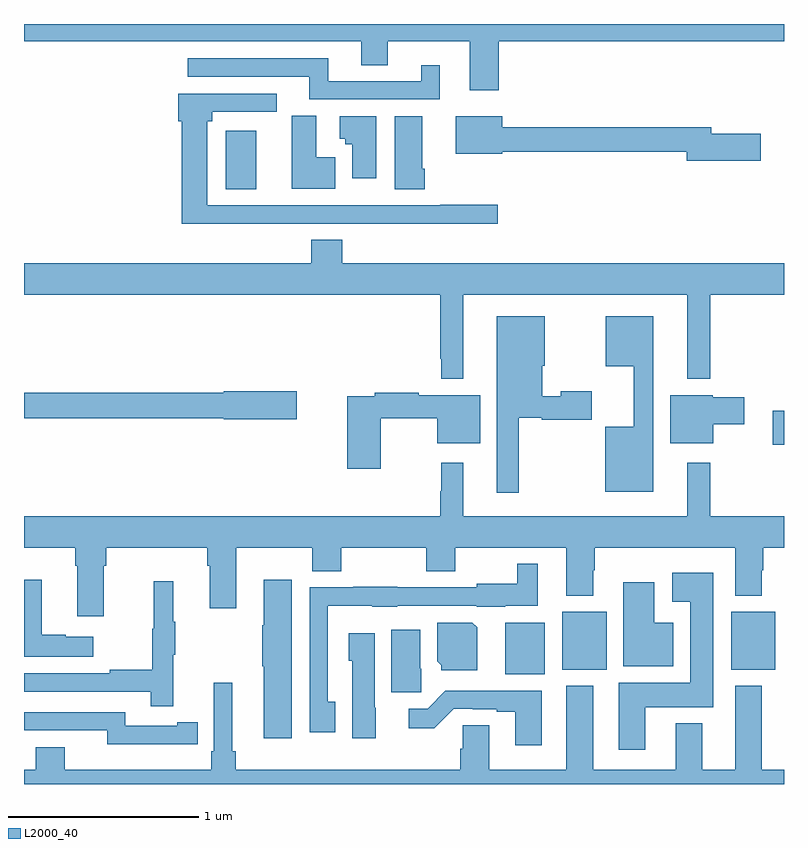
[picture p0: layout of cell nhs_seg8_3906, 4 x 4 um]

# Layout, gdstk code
import gdstk
lib = gdstk.Library(unit=1e-6, precision=1e-09)
def R(c, l, rs):  # rectangles x0, y0, x1, y1
    for r in rs: c.add(gdstk.rectangle(r[:2], r[2:], *l))
def P(c, l, *ps):  # polygons
    for p in ps: c.add(gdstk.Polygon(p, *l))
L2000_40 = (2000, 40)

nhs_seg8_3906 = lib.new_cell('nhs_seg8_3906')
R(nhs_seg8_3906, L2000_40, [(353.534,1138.478,353.74,1138.748), (353.834,1138.502,354.067,1138.807), (354.722,1138.502,354.955,1138.807), (354.942,1139.686,355,1139.864), (352.061,1141.03,352.222,1141.339)])
P(nhs_seg8_3906, L2000_40, [(353.498,1141.808),(355,1141.808),(355,1141.9),(351,1141.9),(351,1141.808),(352.775,1141.808),(352.775,1141.684),(352.915,1141.684),(352.915,1141.808),(353.345,1141.808),(353.345,1141.551),(353.498,1141.551)],
  [(353.188,1141.684),(353.09,1141.684),(353.09,1141.599),(352.6,1141.599),(352.6,1141.719),(351.861,1141.719),(351.861,1141.623),(352.502,1141.623),(352.502,1141.503),(353.188,1141.503)],
  [(352.427,1140.849),(352.759,1140.849),(352.759,1140.848),(353.494,1140.848),(353.494,1140.95),(353.191,1140.95),(353.191,1140.945),(351.964,1140.945),(351.964,1141.389),(351.99,1141.389),(351.99,1141.437),(352.33,1141.437),(352.33,1141.533),(351.812,1141.533),(351.812,1141.389),(351.83,1141.389),(351.83,1140.848),(352.427,1140.848)],
  [(352.639,1141.2),(352.537,1141.2),(352.537,1141.417),(352.409,1141.417),(352.409,1141.034),(352.639,1141.034)],
  [(353.108,1141.138),(353.095,1141.138),(353.095,1141.414),(352.952,1141.414),(352.952,1141.03),(353.108,1141.03)],
  [(352.855,1141.414),(352.661,1141.414),(352.661,1141.295),(352.692,1141.295),(352.692,1141.267),(352.727,1141.267),(352.727,1141.089),(352.855,1141.089)],
  [(354.877,1141.323),(354.616,1141.323),(354.616,1141.357),(353.518,1141.357),(353.518,1141.414),(353.273,1141.414),(353.273,1141.217),(353.518,1141.217),(353.518,1141.228),(354.488,1141.228),(354.488,1141.181),(354.877,1141.181)],
  [(353.311,1140.476),(354.491,1140.476),(354.491,1140.032),(354.613,1140.032),(354.613,1140.476),(355,1140.476),(355,1140.64),(352.676,1140.64),(352.676,1140.764),(352.511,1140.764),(352.511,1140.64),(351,1140.64),(351,1140.476),(353.19,1140.476),(353.19,1140.139),(353.196,1140.139),(353.196,1140.032),(353.311,1140.032)],
  [(353.603,1139.828),(353.724,1139.828),(353.724,1139.818),(353.989,1139.818),(353.989,1139.968),(353.826,1139.968),(353.826,1139.941),(353.728,1139.941),(353.728,1140.102),(353.74,1140.102),(353.74,1140.361),(353.489,1140.361),(353.489,1139.433),(353.603,1139.433)],
  [(354.313,1140.361),(354.062,1140.361),(354.062,1140.098),(354.209,1140.098),(354.209,1139.78),(354.06,1139.78),(354.06,1139.438),(354.313,1139.438)],
  [(352.435,1139.966),(352.05,1139.966),(352.05,1139.96),(351,1139.96),(351,1139.824),(352.05,1139.824),(352.05,1139.819),(352.435,1139.819)],
  [(352.878,1139.824),(353.174,1139.824),(353.174,1139.693),(353.401,1139.693),(353.401,1139.947),(353.078,1139.947),(353.078,1139.96),(352.846,1139.96),(352.846,1139.94),(352.7,1139.94),(352.7,1139.559),(352.878,1139.559)],
  [(354.628,1139.794),(354.79,1139.794),(354.79,1139.936),(354.624,1139.936),(354.624,1139.947),(354.401,1139.947),(354.401,1139.693),(354.628,1139.693)],
  [(351.421,1139.048),(351.434,1139.048),(351.434,1139.144),(351.965,1139.144),(351.965,1139.048),(351.977,1139.048),(351.977,1138.824),(352.117,1138.824),(352.117,1139.144),(352.516,1139.144),(352.516,1139.02),(352.671,1139.02),(352.671,1139.144),(353.116,1139.144),(353.116,1139.02),(353.271,1139.02),(353.271,1139.144),(353.855,1139.144),(353.855,1138.892),(353.995,1138.892),(353.995,1139.024),(354.003,1139.024),(354.003,1139.144),(354.743,1139.144),(354.743,1138.892),(354.883,1138.892),(354.883,1139.024),(354.891,1139.024),(354.891,1139.144),(355,1139.144),(355,1139.308),(354.613,1139.308),(354.613,1139.59),(354.491,1139.59),(354.491,1139.308),(353.311,1139.308),(353.311,1139.59),(353.197,1139.59),(353.197,1139.441),(353.19,1139.441),(353.19,1139.308),(351,1139.308),(351,1139.144),(351.269,1139.144),(351.269,1139.048),(351.281,1139.048),(351.281,1138.782),(351.421,1138.782)],
  [(352.639,1138.334),(352.599,1138.334),(352.599,1138.838),(352.833,1138.838),(352.833,1138.832),(352.965,1138.832),(352.965,1138.839),(353.382,1138.839),(353.382,1138.832),(353.532,1138.832),(353.532,1138.838),(353.704,1138.838),(353.704,1139.059),(353.595,1139.059),(353.595,1138.954),(353.382,1138.954),(353.382,1138.935),(352.965,1138.935),(352.965,1138.937),(352.733,1138.937),(352.733,1138.935),(352.503,1138.935),(352.503,1138.173),(352.639,1138.173)],
  [(354.271,1138.304),(354.628,1138.304),(354.628,1139.011),(354.411,1139.011),(354.411,1138.859),(354.506,1138.859),(354.506,1138.432),(354.131,1138.432),(354.131,1138.08),(354.271,1138.08)],
  [(352.408,1138.975),(352.262,1138.975),(352.262,1138.736),(352.255,1138.736),(352.255,1138.519),(352.262,1138.519),(352.262,1138.14),(352.408,1138.14)],
  [(351.364,1138.675),(351.221,1138.675),(351.221,1138.685),(351.094,1138.685),(351.094,1138.975),(351,1138.975),(351,1138.571),(351.364,1138.571)],
  [(351.785,1138.579),(351.796,1138.579),(351.796,1138.753),(351.785,1138.753),(351.785,1138.966),(351.682,1138.966),(351.682,1138.716),(351.675,1138.716),(351.675,1138.502),(351.451,1138.502),(351.451,1138.482),(351,1138.482),(351,1138.386),(351.667,1138.386),(351.667,1138.308),(351.785,1138.308)],
  [(354.418,1138.75),(354.316,1138.75),(354.316,1138.963),(354.155,1138.963),(354.155,1138.52),(354.418,1138.52)],
  [(353.386,1138.724),(353.36,1138.75),(353.174,1138.75),(353.174,1138.546),(353.196,1138.524),(353.196,1138.499),(353.386,1138.499)],
  [(353.09,1138.506),(353.086,1138.506),(353.086,1138.711),(352.934,1138.711),(352.934,1138.383),(353.09,1138.383)],
  [(352.852,1138.302),(352.846,1138.302),(352.846,1138.693),(352.709,1138.693),(352.709,1138.548),(352.727,1138.548),(352.727,1138.14),(352.852,1138.14)],
  [(355,1137.976),(354.883,1137.976),(354.883,1138.417),(354.743,1138.417),(354.743,1137.976),(354.571,1137.976),(354.571,1138.219),(354.431,1138.219),(354.431,1137.976),(353.995,1137.976),(353.995,1138.417),(353.855,1138.417),(353.855,1137.976),(353.449,1137.976),(353.449,1138.208),(353.31,1138.208),(353.31,1138.086),(353.297,1138.086),(353.297,1137.976),(352.115,1137.976),(352.115,1138.072),(352.096,1138.072),(352.096,1138.432),(351.999,1138.432),(351.999,1138.072),(351.986,1138.072),(351.986,1137.976),(351.214,1137.976),(351.214,1138.093),(351.062,1138.093),(351.062,1137.976),(351,1137.976),(351,1137.9),(355,1137.9)],
  [(353.725,1138.39),(353.218,1138.39),(353.124,1138.296),(353.025,1138.296),(353.025,1138.194),(353.16,1138.194),(353.262,1138.296),(353.362,1138.296),(353.362,1138.293),(353.489,1138.293),(353.489,1138.281),(353.585,1138.281),(353.585,1138.104),(353.725,1138.104)],
  [(351.806,1138.11),(351.914,1138.11),(351.914,1138.226),(351.806,1138.226),(351.806,1138.206),(351.534,1138.206),(351.534,1138.278),(351,1138.278),(351,1138.182),(351.438,1138.182),(351.438,1138.109),(351.806,1138.109)])

lib.write_gds('nhs_seg8_3906.gds')
